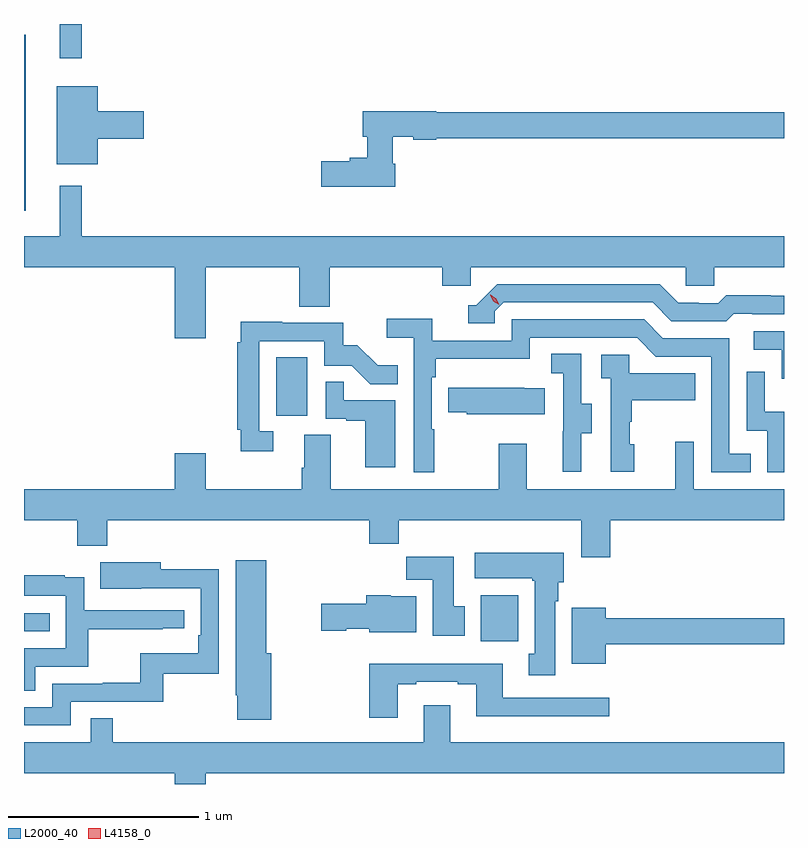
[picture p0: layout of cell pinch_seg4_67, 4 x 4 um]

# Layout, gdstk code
import gdstk
lib = gdstk.Library(unit=1e-6, precision=1e-09)
def R(c, l, rs):  # rectangles x0, y0, x1, y1
    for r in rs: c.add(gdstk.rectangle(r[:2], r[2:], *l))
def P(c, l, *ps):  # polygons
    for p in ps: c.add(gdstk.Polygon(p, *l))
L2000_40 = (2000, 40)
L4158_0 = (4158, 0)

pinch_seg4_67 = lib.new_cell('pinch_seg4_67')
R(pinch_seg4_67, L2000_40, [(1041.743,824.156,1041.94,824.398), (1039.339,824.208,1039.475,824.304), (1040.666,825.342,1040.83,825.649), (1039.339,826.421,1039.348,827.347), (1039.526,827.223,1039.643,827.404)])
P(pinch_seg4_67, L2000_40, [(1039.726,826.799),(1039.969,826.799),(1039.969,826.946),(1039.726,826.946),(1039.726,827.077),(1039.511,827.077),(1039.511,826.667),(1039.726,826.667)],
  [(1041.292,826.669),(1041.281,826.669),(1041.281,826.811),(1041.388,826.811),(1041.388,826.796),(1041.51,826.796),(1041.51,826.804),(1043.339,826.804),(1043.339,826.94),(1041.51,826.94),(1041.51,826.946),(1041.122,826.946),(1041.122,826.811),(1041.145,826.811),(1041.145,826.699),(1041.053,826.699),(1041.053,826.682),(1040.904,826.682),(1040.904,826.547),(1041.292,826.547)],
  [(1040.296,826.124),(1040.788,826.124),(1040.788,825.916),(1040.948,825.916),(1040.948,826.124),(1041.539,826.124),(1041.539,826.026),(1041.69,826.026),(1041.69,826.124),(1042.821,826.124),(1042.821,826.026),(1042.971,826.026),(1042.971,826.124),(1043.339,826.124),(1043.339,826.288),(1039.643,826.288),(1039.643,826.552),(1039.526,826.552),(1039.526,826.288),(1039.339,826.288),(1039.339,826.124),(1040.132,826.124),(1040.132,825.75),(1040.296,825.75)],
  [(1041.816,825.891),(1041.864,825.939),(1042.647,825.939),(1042.746,825.84),(1043.035,825.84),(1043.074,825.879),(1043.173,825.879),(1043.173,825.876),(1043.339,825.876),(1043.339,825.973),(1043.268,825.973),(1043.268,825.976),(1043.035,825.976),(1042.993,825.933),(1042.89,825.933),(1042.89,825.936),(1042.783,825.936),(1042.684,826.035),(1041.831,826.035),(1041.72,825.924),(1041.677,825.924),(1041.677,825.828),(1041.816,825.828)],
  [(1041.499,825.272),(1041.486,825.272),(1041.486,825.545),(1041.506,825.545),(1041.506,825.641),(1042.002,825.641),(1042.002,825.753),(1042.566,825.753),(1042.665,825.654),(1042.956,825.654),(1042.956,825.045),(1043.165,825.045),(1043.165,825.141),(1043.052,825.141),(1043.052,825.75),(1042.702,825.75),(1042.603,825.849),(1041.906,825.849),(1041.906,825.738),(1041.488,825.738),(1041.488,825.854),(1041.249,825.854),(1041.249,825.752),(1041.39,825.752),(1041.39,825.045),(1041.499,825.045)],
  [(1040.65,825.261),(1040.577,825.261),(1040.577,825.735),(1040.919,825.735),(1040.919,825.606),(1041.063,825.606),(1041.161,825.508),(1041.305,825.508),(1041.305,825.607),(1041.201,825.607),(1041.094,825.714),(1041.018,825.714),(1041.018,825.831),(1040.699,825.831),(1040.699,825.836),(1040.48,825.836),(1040.48,825.728),(1040.461,825.728),(1040.461,825.268),(1040.48,825.268),(1040.48,825.156),(1040.65,825.156)],
  [(1043.339,825.786),(1043.18,825.786),(1043.18,825.69),(1043.328,825.69),(1043.328,825.537),(1043.339,825.537)],
  [(1042.273,825.25),(1042.327,825.25),(1042.327,825.405),(1042.272,825.405),(1042.272,825.668),(1042.113,825.668),(1042.113,825.565),(1042.176,825.565),(1042.176,825.261),(1042.175,825.261),(1042.175,825.048),(1042.273,825.048)],
  [(1042.552,825.192),(1042.527,825.192),(1042.527,825.311),(1042.537,825.311),(1042.537,825.425),(1042.871,825.425),(1042.871,825.565),(1042.524,825.565),(1042.524,825.663),(1042.377,825.663),(1042.377,825.539),(1042.428,825.539),(1042.428,825.048),(1042.552,825.048)],
  [(1043.339,825.362),(1043.238,825.362),(1043.238,825.574),(1043.142,825.574),(1043.142,825.264),(1043.25,825.264),(1043.25,825.045),(1043.339,825.045)],
  [(1041.292,825.423),(1041.023,825.423),(1041.023,825.521),(1040.928,825.521),(1040.928,825.327),(1041.035,825.327),(1041.035,825.315),(1041.134,825.315),(1041.134,825.072),(1041.292,825.072)],
  [(1042.079,825.487),(1041.971,825.487),(1041.971,825.49),(1041.571,825.49),(1041.571,825.361),(1041.669,825.361),(1041.669,825.35),(1042.079,825.35)],
  [(1042.424,824.792),(1043.339,824.792),(1043.339,824.956),(1042.863,824.956),(1042.863,825.205),(1042.766,825.205),(1042.766,824.956),(1041.985,824.956),(1041.985,825.196),(1041.838,825.196),(1041.838,824.956),(1040.953,824.956),(1040.953,825.242),(1040.813,825.242),(1040.813,825.068),(1040.801,825.068),(1040.801,824.956),(1040.296,824.956),(1040.296,825.145),(1040.132,825.145),(1040.132,824.956),(1039.339,824.956),(1039.339,824.792),(1039.618,824.792),(1039.618,824.657),(1039.778,824.657),(1039.778,824.792),(1041.155,824.792),(1041.155,824.668),(1041.311,824.668),(1041.311,824.792),(1042.271,824.792),(1042.271,824.598),(1042.424,824.598)],
  [(1042.135,824.366),(1042.15,824.366),(1042.15,824.466),(1042.18,824.466),(1042.18,824.62),(1041.711,824.62),(1041.711,824.486),(1042.015,824.486),(1042.015,824.473),(1042.028,824.473),(1042.028,824.09),(1041.995,824.09),(1041.995,823.977),(1042.135,823.977)],
  [(1041.658,824.34),(1041.601,824.34),(1041.601,824.599),(1041.352,824.599),(1041.352,824.48),(1041.491,824.48),(1041.491,824.184),(1041.658,824.184)],
  [(1040.639,824.091),(1040.614,824.091),(1040.614,824.581),(1040.453,824.581),(1040.453,823.872),(1040.461,823.872),(1040.461,823.743),(1040.639,823.743)],
  [(1039.584,823.836),(1040.071,823.836),(1040.071,823.983),(1040.364,823.983),(1040.364,824.534),(1040.059,824.534),(1040.059,824.572),(1039.741,824.572),(1039.741,824.432),(1039.955,824.432),(1039.955,824.433),(1040.268,824.433),(1040.268,824.188),(1040.255,824.188),(1040.255,824.092),(1039.95,824.092),(1039.95,823.937),(1039.753,823.937),(1039.753,823.932),(1039.488,823.932),(1039.488,823.809),(1039.339,823.809),(1039.339,823.713),(1039.584,823.713)],
  [(1039.399,824.022),(1039.676,824.022),(1039.676,824.218),(1040.069,824.218),(1040.069,824.223),(1040.182,824.223),(1040.182,824.319),(1039.656,824.319),(1039.656,824.491),(1039.553,824.491),(1039.553,824.503),(1039.339,824.503),(1039.339,824.394),(1039.56,824.394),(1039.56,824.118),(1039.339,824.118),(1039.339,823.894),(1039.399,823.894)],
  [(1041.403,824.392),(1041.27,824.392),(1041.27,824.398),(1041.14,824.398),(1041.14,824.352),(1040.904,824.352),(1040.904,824.21),(1041.036,824.21),(1041.036,824.222),(1041.156,824.222),(1041.156,824.204),(1041.403,824.204)],
  [(1042.402,824.14),(1043.339,824.14),(1043.339,824.276),(1042.402,824.276),(1042.402,824.332),(1042.223,824.332),(1042.223,824.036),(1042.402,824.036)],
  [(1041.307,823.929),(1041.403,823.929),(1041.403,823.941),(1041.623,823.941),(1041.623,823.929),(1041.719,823.929),(1041.719,823.76),(1042.42,823.76),(1042.42,823.857),(1041.859,823.857),(1041.859,824.038),(1041.155,824.038),(1041.155,823.752),(1041.307,823.752)],
  [(1040.296,823.46),(1043.339,823.46),(1043.339,823.624),(1041.583,823.624),(1041.583,823.819),(1041.443,823.819),(1041.443,823.624),(1039.805,823.624),(1039.805,823.751),(1039.689,823.751),(1039.689,823.624),(1039.339,823.624),(1039.339,823.46),(1040.132,823.46),(1040.132,823.404),(1040.296,823.404)])
P(pinch_seg4_67, L4158_0, [(1041.84,825.926),(1041.81,825.946),(1041.794,825.978),(1041.794,825.979),(1041.795,825.979),(1041.825,825.959),(1041.841,825.926),(1041.841,825.926)])

lib.write_gds('pinch_seg4_67.gds')
